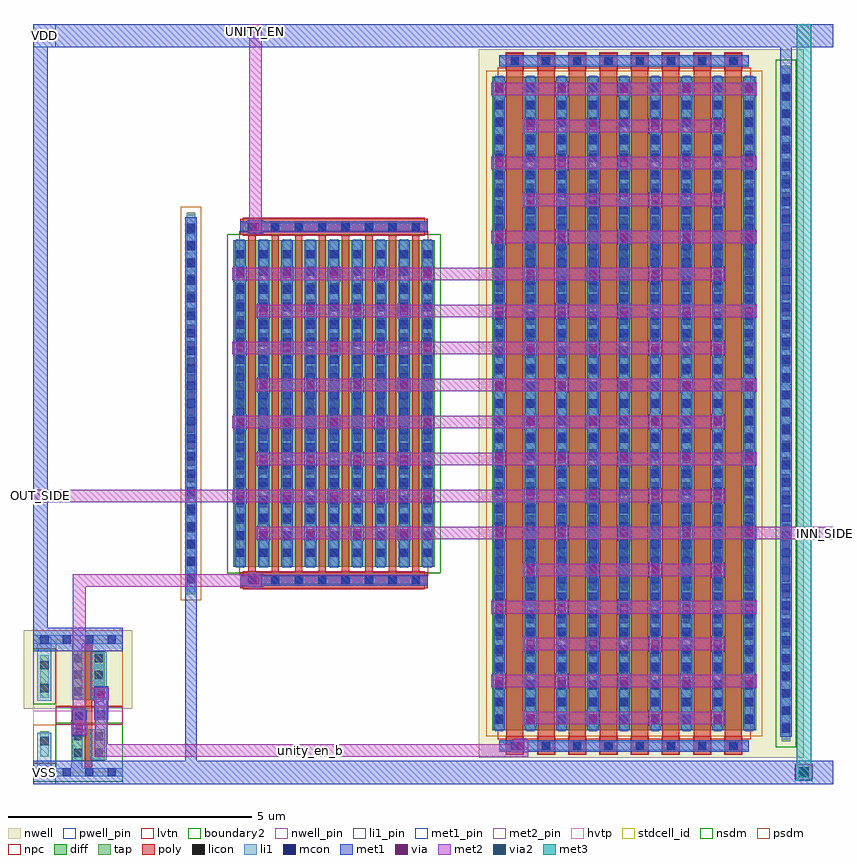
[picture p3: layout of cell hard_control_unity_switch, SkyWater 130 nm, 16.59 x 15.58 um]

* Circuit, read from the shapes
.subckt hard_control_unity_switch INN_SIDE OUT_SIDE UNITY_EN VDD VSS unity_en_b
XM1 unity_en_b UNITY_EN VSS VSS sky130_fd_pr__nfet_01v8 w=0.65 l=0.15
XM2 INN_SIDE UNITY_EN OUT_SIDE VSS sky130_fd_pr__nfet_01v8_lvt w=6.7 l=0.15 m=8
XM3 unity_en_b UNITY_EN VDD VDD sky130_fd_pr__pfet_01v8_hvt w=1 l=0.15
XM4 OUT_SIDE unity_en_b INN_SIDE VDD sky130_fd_pr__pfet_01v8_lvt w=13.4 l=0.35 m=8
.ends

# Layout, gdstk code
import gdstk
lib = gdstk.Library(unit=1e-6, precision=1e-09)
def R(c, l, rs):  # rectangles x0, y0, x1, y1
    for r in rs: c.add(gdstk.rectangle(r[:2], r[2:], *l))
def A(c, l, x, y, w, h, nx, ny, dx, dy):  # array of equal rectangles
    R(c, l, [(x+i*dx, y+j*dy, x+i*dx+w, y+j*dy+h) for i in range(nx) for j in range(ny)])
def P(c, l, *ps):  # polygons
    for p in ps: c.add(gdstk.Polygon(p, *l))
nwell_pin = (64, 16)
nwell = (64, 20)
diff = (65, 20)
tap = (65, 44)
poly = (66, 20)
licon = (66, 44)
li1_pin = (67, 16)
li1 = (67, 20)
mcon = (67, 44)
met1_pin = (68, 16)
met1 = (68, 20)
via = (68, 44)
met2_pin = (69, 16)
met2 = (69, 20)
via2 = (69, 44)
met3 = (70, 20)
hvtp = (78, 44)
stdcell_id = (81, 4)
nsdm = (93, 44)
psdm = (94, 20)
npc = (95, 20)
pwell_pin = (122, 16)
lvtn = (125, 44)
boundary2 = (236, 0)

sky130_fd_sc_hd__inv_1 = lib.new_cell('sky130_fd_sc_hd__inv_1')
R(sky130_fd_sc_hd__inv_1, nwell_pin, [(0.145,2.635,0.315,2.805), (0.145,2.635,0.315,2.805)])
R(sky130_fd_sc_hd__inv_1, nwell, [(-0.19,1.305,1.57,2.91)])
R(sky130_fd_sc_hd__inv_1, diff, [(0.34,0.235,1.01,0.885), (0.34,1.485,1.01,2.485)])
P(sky130_fd_sc_hd__inv_1, poly, [(0.6,0.105),(0.6,0.995),(0.32,0.995),(0.32,1.325),(0.6,1.325),(0.6,2.615),(0.75,2.615),(0.75,0.105)])
A(sky130_fd_sc_hd__inv_1, licon, 0.38, 1.575, 0.17, 0.17, 1, 3, 0, 0.34)
A(sky130_fd_sc_hd__inv_1, licon, 0.8, 1.575, 0.17, 0.17, 1, 3, 0, 0.34)
R(sky130_fd_sc_hd__inv_1, licon, [(0.38,0.315,0.55,0.485), (0.8,0.315,0.97,0.485), (0.38,0.655,0.55,0.825), (0.8,0.655,0.97,0.825), (0.4,1.075,0.57,1.245)])
R(sky130_fd_sc_hd__inv_1, li1_pin, [(0.36,1.105,0.53,1.275), (0.82,1.105,0.99,1.275), (0.82,1.445,0.99,1.615)])
R(sky130_fd_sc_hd__inv_1, li1, [(0,-0.085,1.38,0.085), (0.32,0.005,0.55,0.905), (0.32,1.075,0.65,1.315), (0.34,1.495,0.55,2.675), (0,2.635,1.38,2.805)])
P(sky130_fd_sc_hd__inv_1, li1, [(0.72,0.255),(0.72,0.885),(0.82,0.885),(0.82,1.485),(0.72,1.485),(0.72,2.465),(1.05,2.465),(1.05,0.255)])
A(sky130_fd_sc_hd__inv_1, mcon, 0.145, -0.085, 0.17, 0.17, 3, 2, 0.46, 2.72)
R(sky130_fd_sc_hd__inv_1, met1_pin, [(0.145,-0.085,0.315,0.085), (0.145,-0.085,0.315,0.085), (0.145,2.635,0.315,2.805), (0.145,2.635,0.315,2.805)])
R(sky130_fd_sc_hd__inv_1, hvtp, [(0,1.25,1.38,2.72)])
R(sky130_fd_sc_hd__inv_1, stdcell_id, [(0,0,1.38,2.72)])
R(sky130_fd_sc_hd__inv_1, nsdm, [(0,-0.19,1.38,1.015)])
R(sky130_fd_sc_hd__inv_1, psdm, [(0,1.355,1.38,2.91)])
R(sky130_fd_sc_hd__inv_1, npc, [(0,0.975,1.38,1.345)])
R(sky130_fd_sc_hd__inv_1, pwell_pin, [(0.145,-0.085,0.315,0.085), (0.145,-0.085,0.315,0.085)])
R(sky130_fd_sc_hd__inv_1, boundary2, [(0,0,1.38,2.72)])
sky130_fd_sc_hd__inv_1.add(gdstk.FlexPath([(0,0),(1.38,0)], 0.48, ends="flush", simple_path=True, layer=68, datatype=20))  # met1
sky130_fd_sc_hd__inv_1.add(gdstk.FlexPath([(0,2.72),(1.38,2.72)], 0.48, ends="flush", simple_path=True, layer=68, datatype=20))  # met1
sky130_fd_sc_hd__inv_1.add(gdstk.Label('VPWR', (0.23,2.72), layer=68, texttype=5))
sky130_fd_sc_hd__inv_1.add(gdstk.Label('VGND', (0.23,0), layer=68, texttype=5))
sky130_fd_sc_hd__inv_1.add(gdstk.Label('inv_1', (0,0), layer=83, texttype=44))
sky130_fd_sc_hd__inv_1.add(gdstk.Label('A', (0.445,1.19), layer=67, texttype=5))
sky130_fd_sc_hd__inv_1.add(gdstk.Label('Y', (0.905,1.19), layer=67, texttype=5))
sky130_fd_sc_hd__inv_1.add(gdstk.Label('Y', (0.905,1.53), layer=67, texttype=5))
sky130_fd_sc_hd__inv_1.add(gdstk.Label('VPB', (0.23,2.72), layer=64, texttype=5))
sky130_fd_sc_hd__inv_1.add(gdstk.Label('VNB', (0.23,0), layer=64, texttype=59))

sky130_fd_pr__nfet_01v8_ = lib.new_cell('sky130_fd_pr__nfet_01v8_lvt_JVFSZP')
R(sky130_fd_pr__nfet_01v8_, diff, [(-2.065,-3.35,2.065,3.35)])
A(sky130_fd_pr__nfet_01v8_, poly, -1.755, -3.46, 0.15, 6.92, 8, 1, 0.48, 0)
R(sky130_fd_pr__nfet_01v8_, poly, [(-1.92,-3.79,1.92,-3.46), (-1.92,3.46,1.92,3.79)])
A(sky130_fd_pr__nfet_01v8_, licon, -1.765, -3.71, 0.17, 0.17, 8, 2, 0.48, 7.25)
A(sky130_fd_pr__nfet_01v8_, licon, -2.005, -3.145, 0.17, 0.17, 9, 19, 0.48, 0.34)
A(sky130_fd_pr__nfet_01v8_, li1, -2.005, -3.37, 0.17, 6.74, 9, 1, 0.48, 0)
R(sky130_fd_pr__nfet_01v8_, li1, [(-1.92,-3.71,1.92,-3.54), (-1.92,3.54,1.92,3.71)])
A(sky130_fd_pr__nfet_01v8_, mcon, -1.765, -3.71, 0.17, 0.17, 8, 2, 0.48, 7.25)
A(sky130_fd_pr__nfet_01v8_, mcon, -2.005, -3.145, 0.17, 0.17, 9, 18, 0.48, 0.36)
A(sky130_fd_pr__nfet_01v8_, met1, -1.825, -3.74, 0.29, 0.03, 8, 2, 0.48, 0.2)
A(sky130_fd_pr__nfet_01v8_, met1, -2.035, -3.35, 0.23, 6.7, 9, 1, 0.48, 0)
A(sky130_fd_pr__nfet_01v8_, met1, -1.825, 3.51, 0.29, 0.03, 8, 2, 0.48, 0.2)
R(sky130_fd_pr__nfet_01v8_, met1, [(-1.92,-3.71,1.92,-3.54), (-1.92,3.54,1.92,3.71)])
R(sky130_fd_pr__nfet_01v8_, nsdm, [(-2.19,-3.475,2.19,3.475)])
R(sky130_fd_pr__nfet_01v8_, npc, [(-1.865,-3.81,1.865,-3.44), (-1.865,3.44,1.865,3.81)])
R(sky130_fd_pr__nfet_01v8_, lvtn, [(-1.935,-3.53,1.935,3.53)])
sky130_fd_pr__nfet_01v8_.add(gdstk.Label('S7', (1.44,0), layer=67, texttype=5))
sky130_fd_pr__nfet_01v8_.add(gdstk.Label('D6', (0.96,0), layer=67, texttype=5))
sky130_fd_pr__nfet_01v8_.add(gdstk.Label('S5', (0.48,0), layer=67, texttype=5))
sky130_fd_pr__nfet_01v8_.add(gdstk.Label('S3', (-0.48,0), layer=67, texttype=5))
sky130_fd_pr__nfet_01v8_.add(gdstk.Label('D2', (-0.96,0), layer=67, texttype=5))
sky130_fd_pr__nfet_01v8_.add(gdstk.Label('S1', (-1.44,0), layer=67, texttype=5))
sky130_fd_pr__nfet_01v8_.add(gdstk.Label('D4', (0,0), layer=67, texttype=5))
sky130_fd_pr__nfet_01v8_.add(gdstk.Label('G', (-1.68,3.625), layer=67, texttype=5))
sky130_fd_pr__nfet_01v8_.add(gdstk.Label('G', (-1.2,3.625), layer=67, texttype=5))
sky130_fd_pr__nfet_01v8_.add(gdstk.Label('G', (-0.72,3.625), layer=67, texttype=5))
sky130_fd_pr__nfet_01v8_.add(gdstk.Label('G', (-0.24,3.625), layer=67, texttype=5))
sky130_fd_pr__nfet_01v8_.add(gdstk.Label('G', (0.24,3.625), layer=67, texttype=5))
sky130_fd_pr__nfet_01v8_.add(gdstk.Label('G', (0.72,3.625), layer=67, texttype=5))
sky130_fd_pr__nfet_01v8_.add(gdstk.Label('G', (1.2,3.625), layer=67, texttype=5))
sky130_fd_pr__nfet_01v8_.add(gdstk.Label('G', (1.68,3.625), layer=67, texttype=5))
sky130_fd_pr__nfet_01v8_.add(gdstk.Label('D0', (-1.92,0), layer=67, texttype=5))

sky130_fd_pr__pfet_01v8_ = lib.new_cell('sky130_fd_pr__pfet_01v8_lvt_WSKN45')
R(sky130_fd_pr__pfet_01v8_, nwell, [(-2.885,-7.2,2.885,7.2)])
R(sky130_fd_pr__pfet_01v8_, diff, [(-2.705,-6.7,2.705,6.7)])
A(sky130_fd_pr__pfet_01v8_, poly, -2.415, -7.185, 0.35, 14.37, 8, 1, 0.64, 0)
A(sky130_fd_pr__pfet_01v8_, licon, -2.325, -7.105, 0.17, 0.17, 8, 2, 0.64, 14.04)
A(sky130_fd_pr__pfet_01v8_, licon, -2.645, -6.545, 0.17, 0.17, 9, 39, 0.64, 0.34)
A(sky130_fd_pr__pfet_01v8_, li1, -2.645, -6.72, 0.17, 13.44, 9, 1, 0.64, 0)
R(sky130_fd_pr__pfet_01v8_, li1, [(-2.56,-7.105,2.56,-6.935), (-2.56,6.935,2.56,7.105)])
A(sky130_fd_pr__pfet_01v8_, mcon, -2.325, -7.105, 0.17, 0.17, 8, 2, 0.64, 14.04)
A(sky130_fd_pr__pfet_01v8_, mcon, -2.645, -6.565, 0.17, 0.17, 9, 37, 0.64, 0.36)
A(sky130_fd_pr__pfet_01v8_, met1, -2.395, -7.135, 0.31, 0.03, 8, 2, 0.64, 0.2)
A(sky130_fd_pr__pfet_01v8_, met1, -2.675, -6.7, 0.23, 13.4, 9, 1, 0.64, 0)
A(sky130_fd_pr__pfet_01v8_, met1, -2.395, 6.905, 0.31, 0.03, 8, 2, 0.64, 0.2)
R(sky130_fd_pr__pfet_01v8_, met1, [(-2.56,-7.105,2.56,-6.935), (-2.56,6.935,2.56,7.105)])
R(sky130_fd_pr__pfet_01v8_, psdm, [(-2.83,-6.825,2.83,6.825)])
A(sky130_fd_pr__pfet_01v8_, npc, -2.425, -7.205, 0.37, 0.37, 8, 2, 0.64, 14.04)
R(sky130_fd_pr__pfet_01v8_, lvtn, [(-2.595,-6.88,2.595,6.88)])
sky130_fd_pr__pfet_01v8_.add(gdstk.Label('S7', (1.92,0), layer=67, texttype=5))
sky130_fd_pr__pfet_01v8_.add(gdstk.Label('D6', (1.28,0), layer=67, texttype=5))
sky130_fd_pr__pfet_01v8_.add(gdstk.Label('S5', (0.64,0), layer=67, texttype=5))
sky130_fd_pr__pfet_01v8_.add(gdstk.Label('S3', (-0.64,0), layer=67, texttype=5))
sky130_fd_pr__pfet_01v8_.add(gdstk.Label('D2', (-1.28,0), layer=67, texttype=5))
sky130_fd_pr__pfet_01v8_.add(gdstk.Label('S1', (-1.92,0), layer=67, texttype=5))
sky130_fd_pr__pfet_01v8_.add(gdstk.Label('D4', (0,0), layer=67, texttype=5))
sky130_fd_pr__pfet_01v8_.add(gdstk.Label('G', (-2.24,7.02), layer=67, texttype=5))
sky130_fd_pr__pfet_01v8_.add(gdstk.Label('G', (-1.6,7.02), layer=67, texttype=5))
sky130_fd_pr__pfet_01v8_.add(gdstk.Label('G', (-0.96,7.02), layer=67, texttype=5))
sky130_fd_pr__pfet_01v8_.add(gdstk.Label('G', (-0.32,7.02), layer=67, texttype=5))
sky130_fd_pr__pfet_01v8_.add(gdstk.Label('G', (0.32,7.02), layer=67, texttype=5))
sky130_fd_pr__pfet_01v8_.add(gdstk.Label('G', (0.96,7.02), layer=67, texttype=5))
sky130_fd_pr__pfet_01v8_.add(gdstk.Label('G', (1.6,7.02), layer=67, texttype=5))
sky130_fd_pr__pfet_01v8_.add(gdstk.Label('G', (2.24,7.02), layer=67, texttype=5))
sky130_fd_pr__pfet_01v8_.add(gdstk.Label('D0', (-2.56,0), layer=67, texttype=5))

switch_tg_analog_nf08 = lib.new_cell('switch_tg_analog_nf08')
R(switch_tg_analog_nf08, nwell, [(6.24,-7.26,12.9,7.26)])
R(switch_tg_analog_nf08, tap, [(12.45,-6.92,12.62,6.92), (0.25,-3.91,0.42,3.91)])
A(switch_tg_analog_nf08, licon, 12.45, -6.715, 0.17, 0.17, 1, 40, 0, 0.34)
A(switch_tg_analog_nf08, licon, 0.25, -3.655, 0.17, 0.17, 1, 22, 0, 0.34)
R(switch_tg_analog_nf08, li1, [(12.45,-6.88,12.62,6.88), (0.25,-3.87,0.42,3.87)])
A(switch_tg_analog_nf08, mcon, 12.45, -6.745, 0.17, 0.17, 1, 38, 0, 0.36)
A(switch_tg_analog_nf08, mcon, 0.25, -3.685, 0.17, 0.17, 1, 21, 0, 0.36)
R(switch_tg_analog_nf08, met1_pin, [(0.22,-0.4,0.45,0.4), (12.42,-0.4,12.65,0.4), (1.345,3.51,1.98,3.74), (6.655,6.905,7.52,7.135)])
A(switch_tg_analog_nf08, met1, 7.165, -6.61, 0.26, 0.32, 4, 2, 1.28, 1.52)
A(switch_tg_analog_nf08, met1, 6.525, -5.85, 0.26, 0.32, 5, 2, 1.28, 1.515)
A(switch_tg_analog_nf08, met1, 7.165, -3.575, 0.26, 0.32, 4, 2, 1.28, 1.52)
A(switch_tg_analog_nf08, met1, 1.695, -2.815, 0.26, 0.32, 4, 2, 0.96, 1.515)
A(switch_tg_analog_nf08, met1, 6.525, -2.815, 0.26, 0.32, 5, 2, 1.28, 1.515)
A(switch_tg_analog_nf08, met1, 1.215, -2.055, 0.26, 0.32, 5, 2, 0.96, 1.515)
A(switch_tg_analog_nf08, met1, 7.165, -0.54, 0.26, 0.32, 4, 2, 1.28, 1.52)
A(switch_tg_analog_nf08, met1, 1.695, 0.22, 0.26, 0.32, 4, 2, 0.96, 1.515)
A(switch_tg_analog_nf08, met1, 6.525, 0.22, 0.26, 0.32, 5, 2, 1.28, 1.515)
A(switch_tg_analog_nf08, met1, 1.215, 0.98, 0.26, 0.32, 5, 2, 0.96, 1.515)
A(switch_tg_analog_nf08, met1, 7.165, 2.495, 0.26, 0.32, 4, 2, 1.28, 1.52)
A(switch_tg_analog_nf08, met1, 6.525, 3.255, 0.26, 0.32, 5, 2, 1.28, 1.515)
A(switch_tg_analog_nf08, met1, 7.165, 5.53, 0.26, 0.32, 4, 1, 1.28, 0)
A(switch_tg_analog_nf08, met1, 6.525, 6.29, 0.26, 0.32, 5, 1, 1.28, 0)
R(switch_tg_analog_nf08, met1, [(6.655,-7.135,11.775,-6.905), (12.42,-6.83,12.65,6.83), (0.22,-3.82,0.45,3.82), (1.345,-3.74,5.185,-3.51), (1.345,3.51,5.185,3.74), (6.655,6.905,11.775,7.135)])
A(switch_tg_analog_nf08, via, 7.22, -6.525, 0.15, 0.15, 4, 2, 1.28, 1.52)
A(switch_tg_analog_nf08, via, 6.58, -5.765, 0.15, 0.15, 5, 2, 1.28, 1.515)
A(switch_tg_analog_nf08, via, 7.22, -3.49, 0.15, 0.15, 4, 2, 1.28, 1.52)
A(switch_tg_analog_nf08, via, 1.75, -2.73, 0.15, 0.15, 4, 2, 0.96, 1.515)
A(switch_tg_analog_nf08, via, 6.58, -2.73, 0.15, 0.15, 5, 2, 1.28, 1.515)
A(switch_tg_analog_nf08, via, 1.27, -1.97, 0.15, 0.15, 5, 2, 0.96, 1.515)
A(switch_tg_analog_nf08, via, 7.22, -0.455, 0.15, 0.15, 4, 2, 1.28, 1.52)
A(switch_tg_analog_nf08, via, 1.75, 0.305, 0.15, 0.15, 4, 2, 0.96, 1.515)
A(switch_tg_analog_nf08, via, 6.58, 0.305, 0.15, 0.15, 5, 2, 1.28, 1.515)
A(switch_tg_analog_nf08, via, 1.27, 1.065, 0.15, 0.15, 5, 2, 0.96, 1.515)
A(switch_tg_analog_nf08, via, 7.22, 2.58, 0.15, 0.15, 4, 2, 1.28, 1.52)
A(switch_tg_analog_nf08, via, 6.58, 3.34, 0.15, 0.15, 5, 2, 1.28, 1.515)
A(switch_tg_analog_nf08, via, 7.22, 5.615, 0.15, 0.15, 4, 1, 1.28, 0)
A(switch_tg_analog_nf08, via, 6.58, 6.375, 0.15, 0.15, 5, 1, 1.28, 0)
R(switch_tg_analog_nf08, met2_pin, [(11.635,-2.785,11.935,-2.525), (1.185,-2.025,1.485,-1.765)])
R(switch_tg_analog_nf08, met2, [(7.135,-6.58,11.295,-6.32), (6.495,-5.82,11.935,-5.56), (7.135,-5.06,11.295,-4.8), (6.495,-4.305,11.935,-4.045), (7.135,-3.545,11.295,-3.285), (1.665,-2.785,11.935,-2.525), (1.185,-2.025,11.295,-1.765), (1.665,-1.27,11.935,-1.01), (1.185,-0.51,11.295,-0.25), (1.665,0.25,11.935,0.51), (1.185,1.01,11.295,1.27), (1.665,1.765,11.935,2.025), (1.185,2.525,11.295,2.785), (6.495,3.285,11.935,3.545), (7.135,4.045,11.295,4.305), (6.495,4.8,11.935,5.06), (7.135,5.56,11.295,5.82), (6.495,6.32,11.935,6.58)])
R(switch_tg_analog_nf08, nsdm, [(12.325,-7.045,12.745,7.045)])
R(switch_tg_analog_nf08, psdm, [(0.125,-4.035,0.545,4.035)])
switch_tg_analog_nf08.add(gdstk.Reference(sky130_fd_pr__nfet_01v8_, (3.265,0)))
switch_tg_analog_nf08.add(gdstk.Reference(sky130_fd_pr__pfet_01v8_, (9.215,0)))
switch_tg_analog_nf08.add(gdstk.Label('VDD', (12.535,0), layer=68, texttype=5))
switch_tg_analog_nf08.add(gdstk.Label('GB', (7.087,7.02), layer=68, texttype=5))
switch_tg_analog_nf08.add(gdstk.Label('VSS', (0.335,0), layer=68, texttype=5))
switch_tg_analog_nf08.add(gdstk.Label('G', (1.662,3.625), layer=68, texttype=5))
switch_tg_analog_nf08.add(gdstk.Label('B', (11.785,-2.655), layer=69, texttype=5))
switch_tg_analog_nf08.add(gdstk.Label('A', (1.335,-1.895), layer=69, texttype=5))

sky130_fd_sc_hd__tapvpwr = lib.new_cell('sky130_fd_sc_hd__tapvpwrvgnd_1')
R(sky130_fd_sc_hd__tapvpwr, nwell, [(-0.19,1.305,0.65,2.91)])
R(sky130_fd_sc_hd__tapvpwr, tap, [(0.145,0.32,0.315,0.845), (0.145,1.525,0.315,2.4)])
R(sky130_fd_sc_hd__tapvpwr, licon, [(0.145,0.555,0.315,0.725), (0.145,1.645,0.315,1.815), (0.145,2.11,0.315,2.28)])
R(sky130_fd_sc_hd__tapvpwr, li1, [(0,-0.085,0.46,0.085), (0.085,0,0.375,0.81), (0.085,1.47,0.375,2.72), (0,2.635,0.46,2.805)])
R(sky130_fd_sc_hd__tapvpwr, mcon, [(0.145,-0.085,0.315,0.085), (0.145,2.635,0.315,2.805)])
R(sky130_fd_sc_hd__tapvpwr, met1_pin, [(0.105,-0.09,0.36,0.1), (0.11,2.62,0.375,2.765)])
R(sky130_fd_sc_hd__tapvpwr, met1, [(0,-0.24,0.46,0.24), (0,2.48,0.46,2.96)])
R(sky130_fd_sc_hd__tapvpwr, hvtp, [(0,1.25,0.46,2.72)])
R(sky130_fd_sc_hd__tapvpwr, stdcell_id, [(0,0,0.46,2.72)])
R(sky130_fd_sc_hd__tapvpwr, nsdm, [(0,-0.19,0.46,0.19), (0,1.395,0.46,2.53)])
R(sky130_fd_sc_hd__tapvpwr, psdm, [(0,0.19,0.46,0.975), (0,2.53,0.46,2.91)])
sky130_fd_sc_hd__tapvpwr.add(gdstk.Label('VGND', (0.23,0), layer=68, texttype=5))
sky130_fd_sc_hd__tapvpwr.add(gdstk.Label('VPWR', (0.23,2.72), layer=68, texttype=5))
sky130_fd_sc_hd__tapvpwr.add(gdstk.Label('tapvpwrvgnd_1', (0,0), layer=83, texttype=44))

hard_control_unity_switc = lib.new_cell('hard_control_unity_switch')
R(hard_control_unity_switc, li1, [(0.86,1.075,1.03,1.245), (1.31,1.105,1.48,1.275)])
R(hard_control_unity_switc, mcon, [(0.86,1.075,1.03,1.245), (1.31,1.105,1.48,1.275)])
R(hard_control_unity_switc, met1_pin, [(0,-0.24,0.46,0.24), (0,14.86,0.46,15.34)])
R(hard_control_unity_switc, met1, [(0,-0.24,16.4,0.24), (3.12,0.24,3.35,3.96), (9.83,0.41,10.15,0.67), (0.815,0.74,1.075,1.045), (0.8,1.045,1.09,1.275), (1.25,1.075,1.54,1.76), (0.815,1.275,1.075,1.3), (0,2.48,0.3,14.86), (4.4,3.805,4.72,4.065), (4.4,11.055,4.72,11.315), (15.32,14.16,15.55,14.86), (0,14.86,16.4,15.34)])
R(hard_control_unity_switc, via, [(15.725,-0.075,15.875,0.075), (9.915,0.465,10.065,0.615), (0.87,0.825,1.02,0.975), (1.32,1.525,1.47,1.675), (4.485,3.86,4.635,4.01), (4.485,11.11,4.635,11.26)])
R(hard_control_unity_switc, met2_pin, [(16.1,4.775,16.4,5.035), (0,5.535,0.3,5.795), (4.43,15.04,4.69,15.34)])
R(hard_control_unity_switc, met2, [(15.67,-0.16,15.93,-0.14), (15.615,-0.14,15.985,0.14), (15.67,0.14,15.93,0.16), (1.265,0.32,10.15,0.58), (1.265,0.58,1.525,1.47), (9.83,0.58,10.15,0.67), (9.86,0.67,10.12,0.7), (0.785,0.77,1.105,1.03), (0.815,1.03,1.075,3.805), (1.235,1.47,1.555,1.73), (4.43,3.775,4.69,3.805), (0.815,3.805,4.69,4.065), (4.43,4.065,4.69,4.095), (14.735,4.775,16.4,5.035), (0,5.535,4.235,5.795), (4.43,11.025,4.69,15.34)])
R(hard_control_unity_switc, via2, [(15.7,-0.1,15.9,0.1)])
R(hard_control_unity_switc, met3, [(15.625,-0.175,15.975,0.175), (15.65,0.175,15.95,15.34)])
hard_control_unity_switc.add(gdstk.Reference(sky130_fd_sc_hd__inv_1, (0.46,0)))
hard_control_unity_switc.add(gdstk.Reference(switch_tg_analog_nf08, (2.9,7.56)))
hard_control_unity_switc.add(gdstk.Reference(sky130_fd_sc_hd__tapvpwr, (0,0)))
hard_control_unity_switc.add(gdstk.Label('VDD', (0.23,15.1), layer=68, texttype=5))
hard_control_unity_switc.add(gdstk.Label('VSS', (0.23,0), layer=68, texttype=5))
hard_control_unity_switc.add(gdstk.Label('INN_SIDE', (16.25,4.905), layer=69, texttype=5))
hard_control_unity_switc.add(gdstk.Label('OUT_SIDE', (0.15,5.665), layer=69, texttype=5))
hard_control_unity_switc.add(gdstk.Label('UNITY_EN', (4.56,15.19), layer=69, texttype=5))
hard_control_unity_switc.add(gdstk.Label('unity_en_b', (5.69,0.45), layer=69, texttype=5))

lib.write_gds('hard_control_unity_switch.gds')
